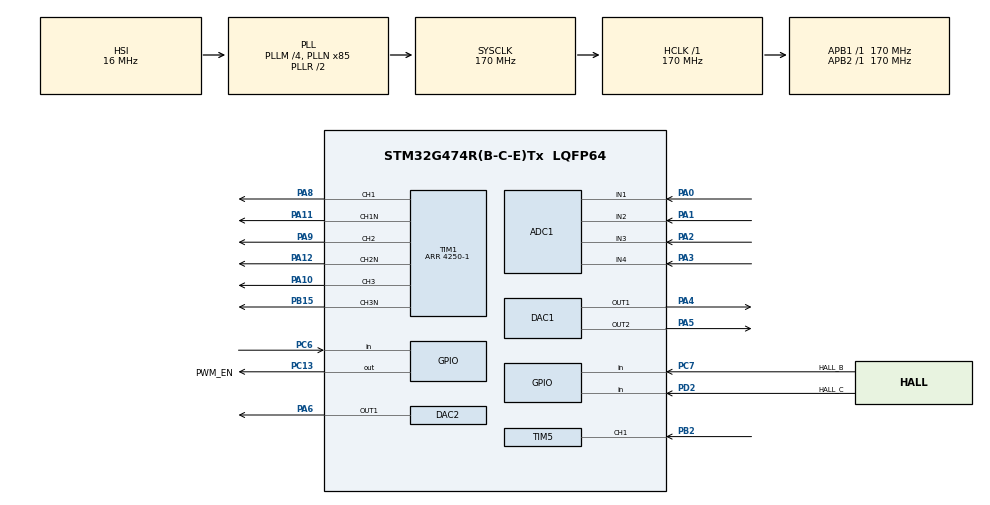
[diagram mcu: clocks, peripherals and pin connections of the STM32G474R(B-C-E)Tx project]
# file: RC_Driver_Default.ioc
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ADC1.Channel-0\#ChannelRegularConversion=ADC_CHANNEL_1
ADC1.Channel-1\#ChannelRegularConversion=ADC_CHANNEL_2
ADC1.Channel-2\#ChannelRegularConversion=ADC_CHANNEL_3
ADC1.Channel-3\#ChannelRegularConversion=ADC_CHANNEL_4
ADC1.DMAContinuousRequests=ENABLE
ADC1.ExternalTrigConv=ADC_EXTERNALTRIG_T1_TRGO
ADC1.ExternalTrigConvEdge=ADC_EXTERNALTRIGCONVEDGE_RISING
ADC1.NbrOfConversion=4
ADC1.NbrOfConversionFlag=1
ADC1.OffsetNumber-0\#ChannelRegularConversion=ADC_OFFSET_NONE
ADC1.OffsetNumber-1\#ChannelRegularConversion=ADC_OFFSET_NONE
ADC1.OffsetNumber-2\#ChannelRegularConversion=ADC_OFFSET_NONE
ADC1.OffsetNumber-3\#ChannelRegularConversion=ADC_OFFSET_NONE
ADC1.Overrun=ADC_OVR_DATA_PRESERVED
ADC1.Rank-0\#ChannelRegularConversion=1
ADC1.Rank-1\#ChannelRegularConversion=2
ADC1.Rank-2\#ChannelRegularConversion=3
ADC1.Rank-3\#ChannelRegularConversion=4
ADC1.SamplingTime-0\#ChannelRegularConversion=ADC_SAMPLETIME_92CYCLES_5
ADC1.SamplingTime-1\#ChannelRegularConversion=ADC_SAMPLETIME_92CYCLES_5
ADC1.SamplingTime-2\#ChannelRegularConversion=ADC_SAMPLETIME_92CYCLES_5
ADC1.SamplingTime-3\#ChannelRegularConversion=ADC_SAMPLETIME_92CYCLES_5
ADC1.master=1
DAC1.DAC_Channel-DAC_OUT2=DAC_CHANNEL_2
DAC1.DAC_SignedFormat-DAC_OUT1=ENABLE
DAC1.DAC_SignedFormat-DAC_OUT2=ENABLE
DAC2.DAC_SignedFormat-DAC_OUT1=ENABLE
Dma.ADC1.0.Direction=DMA_PERIPH_TO_MEMORY
Dma.ADC1.0.EventEnable=DISABLE
Dma.ADC1.0.Instance=DMA1_Channel1
Dma.ADC1.0.MemDataAlignment=DMA_MDATAALIGN_HALFWORD
Dma.ADC1.0.MemInc=DMA_MINC_ENABLE
Dma.ADC1.0.Mode=DMA_CIRCULAR
Dma.ADC1.0.PeriphDataAlignment=DMA_PDATAALIGN_HALFWORD
Dma.ADC1.0.PeriphInc=DMA_PINC_DISABLE
Dma.ADC1.0.Polarity=HAL_DMAMUX_REQ_GEN_RISING
Dma.ADC1.0.Priority=DMA_PRIORITY_LOW
Dma.ADC1.0.RequestNumber=1
Dma.ADC1.0.SignalID=NONE
Dma.ADC1.0.SyncEnable=DISABLE
Dma.ADC1.0.SyncPolarity=HAL_DMAMUX_SYNC_NO_EVENT
Dma.ADC1.0.SyncRequestNumber=1
Dma.ADC1.0.SyncSignalID=NONE
Dma.Request0=ADC1
LPTIM1.ClockPrescaler=LPTIM_PRESCALER_DIV16
LPTIM1.UpdateMode=LPTIM_UPDATE_ENDOFPERIOD
Mcu.Family=STM32G4
Mcu.Name=STM32G474R(B-C-E)Tx
Mcu.Package=LQFP64
Mcu.UserConstants=PPR,2000
NVIC.ADC1_2_IRQn=true\:0\:0\:false\:false\:true\:true\:true\:true
NVIC.DMA1_Channel1_IRQn=true\:0\:0\:false\:false\:true\:false\:true\:true
NVIC.LPTIM1_IRQn=true\:2\:0\:true\:false\:true\:true\:true\:true
NVIC.PriorityGroup=NVIC_PRIORITYGROUP_4
NVIC.TIM1_BRK_TIM15_IRQn=true\:1\:0\:true\:false\:true\:true\:true\:true
NVIC.TIM1_UP_TIM16_IRQn=true\:0\:0\:false\:false\:true\:true\:true\:true
NVIC.TIM5_IRQn=true\:1\:0\:true\:false\:true\:true\:true\:true
PA0.Mode=IN1-Single-Ended
PA0.Signal=ADC1_IN1
PA1.Mode=IN2-Single-Ended
PA1.Signal=ADC1_IN2
PA10.Signal=S_TIM1_CH3
PA11.Mode=PWM Generation1 CH1 CH1N
PA11.Signal=TIM1_CH1N
PA12.Mode=PWM Generation2 CH2 CH2N
PA12.Signal=TIM1_CH2N
PA13.Mode=Serial_Wire
PA13.Signal=SYS_JTMS-SWDIO
PA14.Mode=Serial_Wire
PA14.Signal=SYS_JTCK-SWCLK
PA2.Mode=IN3-Single-Ended
PA2.Signal=ADC1_IN3
PA3.Mode=IN4-Single-Ended
PA3.Signal=ADC1_IN4
PA4.Signal=COMP_DAC11_group
PA5.Signal=COMP_DAC12_group
PA6.Signal=COMP_DAC21_group
PA8.Signal=S_TIM1_CH1
PA9.Signal=S_TIM1_CH2
PB15.Mode=PWM Generation3 CH3 CH3N
PB15.Signal=TIM1_CH3N
PB2.GPIO_PuPd=GPIO_PULLDOWN
PB2.GPIO_Speed=GPIO_SPEED_FREQ_VERY_HIGH
PB2.Signal=S_TIM5_CH1
PC13.GPIO_Label=PWM_EN
PC13.GPIO_PuPd=GPIO_PULLDOWN
PC13.Signal=GPIO_Output
PC6.GPIO_PuPd=GPIO_PULLUP
PC6.Signal=GPIO_Input
PC7.GPIO_Label=HALL_B
PC7.GPIO_PuPd=GPIO_PULLUP
PC7.Signal=GPIO_Input
PD2.GPIO_Label=HALL_C
PD2.GPIO_PuPd=GPIO_PULLUP
PD2.Signal=GPIO_Input
ProjectManager.HeapSize=0x200
ProjectManager.StackSize=0x400
ProjectManager.TargetToolchain=STM32CubeIDE
RCC.ADC12Freq_Value=170000000
RCC.ADC345Freq_Value=170000000
RCC.AHBFreq_Value=170000000
RCC.APB1Freq_Value=170000000
RCC.APB1TimFreq_Value=170000000
RCC.APB2Freq_Value=170000000
RCC.APB2TimFreq_Value=170000000
RCC.CortexFreq_Value=170000000
RCC.EXTERNAL_CLOCK_VALUE=12288000
RCC.HCLKFreq_Value=170000000
RCC.HSE_VALUE=8000000
RCC.HSI48_VALUE=48000000
RCC.HSI_VALUE=16000000
RCC.LPTIM1CLockSelection=RCC_LPTIM1CLKSOURCE_LSI
RCC.LSE_VALUE=32768
RCC.PLLM=RCC_PLLM_DIV4
RCC.PLLN=85
RCC.SYSCLKFreq_VALUE=170000000
RCC.SYSCLKSource=RCC_SYSCLKSOURCE_PLLCLK
RCC.USBFreq_Value=170000000
RCC.VCOOutputFreq_Value=340000000
SH.COMP_DAC11_group.0=DAC1_OUT1,DAC_OUT1
SH.COMP_DAC12_group.0=DAC1_OUT2,DAC_OUT2
SH.COMP_DAC21_group.0=DAC2_OUT1,DAC_OUT1
SH.S_TIM1_CH1.0=TIM1_CH1,PWM Generation1 CH1 CH1N
SH.S_TIM1_CH2.0=TIM1_CH2,PWM Generation2 CH2 CH2N
SH.S_TIM1_CH3.0=TIM1_CH3,PWM Generation3 CH3 CH3N
SH.S_TIM5_CH1.0=TIM5_CH1,TriggerSource_TI1FP1
SH.S_TIM5_CH1.1=TIM5_CH1,Input_Capture1_from_TI1
TIM1.AsymmetricalDeadTime=ENABLE
TIM1.Break2Polarity=TIM_BREAK2POLARITY_LOW
TIM1.Break2State=TIM_BREAK2_DISABLE
TIM1.BreakPolarity=TIM_BREAKPOLARITY_HIGH
TIM1.BreakState=TIM_BREAK_ENABLE
TIM1.Channel-PWM\ Generation1\ CH1\ CH1N=TIM_CHANNEL_1
TIM1.Channel-PWM\ Generation2\ CH2\ CH2N=TIM_CHANNEL_2
TIM1.Channel-PWM\ Generation3\ CH3\ CH3N=TIM_CHANNEL_3
TIM1.CounterMode=TIM_COUNTERMODE_CENTERALIGNED1
TIM1.DeadTime=119
TIM1.DeadTimePreload=ENABLE
TIM1.FallingDeadTime=119
TIM1.OCMode_PWM-PWM\ Generation1\ CH1\ CH1N=TIM_OCMODE_PWM1
TIM1.OCMode_PWM-PWM\ Generation2\ CH2\ CH2N=TIM_OCMODE_PWM1
TIM1.OCMode_PWM-PWM\ Generation3\ CH3\ CH3N=TIM_OCMODE_PWM1
TIM1.OffStateIDLEMode=TIM_OSSI_DISABLE
TIM1.OffStateRunMode=TIM_OSSR_DISABLE
TIM1.PeriodNoDither=4250-1
TIM1.PulseNoDither_1=2125
TIM1.PulseNoDither_2=2125
TIM1.PulseNoDither_3=2125
TIM1.RepetitionCounter=0
TIM1.TIM_MasterOutputTrigger=TIM_TRGO_UPDATE
TIM1.TIM_MasterSlaveMode=TIM_MASTERSLAVEMODE_ENABLE
TIM5.Channel-Input_Capture1_from_TI1=TIM_CHANNEL_1
TIM5.Channel-Input_Capture2_from_TI1_63=TIM_CHANNEL_2
TIM5.ICPolarity_CH2=TIM_INPUTCHANNELPOLARITY_FALLING
TIM5.PeriodNoDither=65535
TIM5.Prescaler=169
TIM5.TIM_MasterOutputTrigger=TIM_TRGO_OC1REF
VP_CORDIC_VS_CORDIC.Mode=CORDIC_Activate
VP_LPTIM1_VS_LPTIM_counterModeInternalClock.Mode=Counts__internal_clock_event_00
VP_SYS_VS_DBSignals.Mode=DisableDeadBatterySignals
VP_TIM1_VS_ClockSourceINT.Mode=Internal
VP_TIM5_VS_ClockSourceINT.Mode=Internal
VP_TIM5_VS_ControllerModeReset.Mode=Reset Mode
VP_TIM5_VS_indirect_ch1.Mode=Input_Capture2_from_TI1_63
board=custom

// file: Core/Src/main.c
/* USER CODE BEGIN Header */
/**
 * @mainpage RC_Driver
 *
 * @section overview 프로젝트 개요
 * <b>RC_Driver</b>는 STM32G474RET6 마이크로컨트롤러 기반의
 * <b>PMSM(영구자석 동기 전동기) 인버터 드라이버</b>입니다.\n
 * RC카용 브러시리스 모터를 FOC(Field Oriented Control) 방식으로 구동하며,
 * Hall 센서 기반 위치/속도 추정과 센서리스 EEMF 옵저버를 지원합니다.
 *
 * @section hw 하드웨어 구성
 * | 항목 | 내용 |
 * |------|------|
 * | MCU | STM32G474RET6 (Cortex-M4, 170MHz, LQFP64) |
 * | 게이트 드라이버 | DRV8300DPWR – 3상 상하 암 6채널 구동 |
 * | 전력 스위치 | ISG0613N04NM6HATMA1 N-MOSFET × 6 |
 * | 전류 센서 | ACS725LLCTR-20AB-T (±20A, 66mV/A) × 3상 |
 * | 홀 센서 인터페이스 | 74LVC125AD 레벨 시프터 |
 *
 * @section sw 소프트웨어 구조
 * 제어 루프는 TIM1 인터럽트(20kHz, 50µs 주기)에서 실행됩니다.
 * | 파일 | 역할 |
 * |------|------|
 * | main.c | 시스템 초기화, 제어기 초기화 |
 * | MainControl.c | 메인 제어 루프 – ADC 샘플링 → 보호 → 모드 분기 |
 * | CurrentControl.c | FOC 핵심 알고리즘 – Clarke/Park 변환, PI 제어, SVPWM |
 * | Adc.c | ADC1 초기화 및 3상 전류(Ia, Ib, Ic) / DC링크 전압(Vdc) 측정 |
 * | SpeedObserver.c | Hall Sensor 각도 센싱 및 PLL 속도 추정기 |
 * | Fault.c | 하드웨어/소프트웨어 고장 감지 및 PWM 즉시 차단 |
 * | SpeedControl.c | PI 속도 제어 |
 * | GlobalVar.c | 모듈 간 공유 전역 변수 |
 * | stm32g4xx_it.c | TIM1(PWM 20kHz), TIM2(제어 20kHz), TIM15 초기화 |
 * | IntDac.c | STM32G474RET6 지원 DAC |
 */
/* USER CODE END Header */
#include "main.h"

/* USER CODE BEGIN Includes */
#include "GlobalVar.h"
#include "Adc.h"
#include "IntDac.h"

/* USER CODE END Includes */

ADC_HandleTypeDef hadc1;
DMA_HandleTypeDef hdma_adc1;

CORDIC_HandleTypeDef hcordic;

DAC_HandleTypeDef hdac1;
DAC_HandleTypeDef hdac2;

LPTIM_HandleTypeDef hlptim1;

TIM_HandleTypeDef htim1;
TIM_HandleTypeDef htim5;

void SystemClock_Config(void);
static void MX_GPIO_Init(void);
static void MX_DMA_Init(void);
static void MX_LPTIM1_Init(void);
static void MX_TIM1_Init(void);
static void MX_ADC1_Init(void);
static void MX_CORDIC_Init(void);
static void MX_DAC1_Init(void);
static void MX_DAC2_Init(void);
static void MX_TIM5_Init(void);

int main(void)
{

  /* MCU Configuration--------------------------------------------------------*/

  /* Reset of all peripherals, Initializes the Flash interface and the Systick. */
  HAL_Init();

  /* Configure the system clock */
  SystemClock_Config();

  /* USER CODE BEGIN SysInit */
	fSysClkFreq = HAL_RCC_GetSysClockFreq(); //* 시스템 클럭 주파수 저장
	fLptClkFreq = LSI_VALUE;                 //* LPTIM용 LSI 클럭 주파수 저장
  /* USER CODE END SysInit */

  /* Initialize all configured peripherals */
  MX_GPIO_Init();
  MX_DMA_Init();
  MX_LPTIM1_Init();
  MX_TIM1_Init();
  MX_ADC1_Init();
  MX_CORDIC_Init();
  MX_DAC1_Init();
  MX_DAC2_Init();
  MX_TIM5_Init();
  /* USER CODE BEGIN 2 */
	HAL_TIM_Base_Start_IT(&htim1);
	HAL_LPTIM_TimeOut_Start_IT(&hlptim1, 0x0000, 500);
	vEnableCycleCounter();
	vInitAdc();
	vInitIntDac();
	vInitController();

	// HAL_DAC_ConfigChannel(&hdac1, &sConfig, DAC_CHANNEL_1);
  /* USER CODE END 2 */

  /* Infinite loop */
	while (1)
	{

    /* USER CODE BEGIN 3 */
		/**
		 * @brief 외부 입력 PWM 신호 상태 모니터링
		 * @details 10ms 이상 신호 업데이트가 없으면 주파수를 0Hz로 강제 처리하고,
		 * 핀의 High/Low 상태에 따라 듀티 사이클을 100% 또는 0%로 설정합니다.
		 */
		if ((HAL_GetTick() - uLast_Capture_Time) > 10)
		{
			uFrequency = 0; // 주파수는 0Hz로 처리

			// TIM3_CH1 핀의 상태를 직접 읽어서 100%인지 0%인지 판단!
			// (주의: GPIOA, GPIO_PIN_6 부분은 실제 CubeMX에서 설정된 핀에 맞게 변경하세요)
			if (HAL_GPIO_ReadPin(GPIOB, GPIO_PIN_2) == GPIO_PIN_SET)
			{
				fDuty_Cycle = 100.0f; // 계속 High 상태면 100%
			}
			else
			{
				fDuty_Cycle = 0.0f;   // 계속 Low 상태면 0%
			}
		}

	}
  /* USER CODE END 3 */
}

void SystemClock_Config(void)
{
  RCC_OscInitTypeDef RCC_OscInitStruct = {0};
  RCC_ClkInitTypeDef RCC_ClkInitStruct = {0};

  /** Configure the main internal regulator output voltage
  */
  HAL_PWREx_ControlVoltageScaling(PWR_REGULATOR_VOLTAGE_SCALE1_BOOST);

  /** Initializes the RCC Oscillators according to the specified parameters
  * in the RCC_OscInitTypeDef structure.
  */
  RCC_OscInitStruct.OscillatorType = RCC_OSCILLATORTYPE_HSI|RCC_OSCILLATORTYPE_LSI;
  RCC_OscInitStruct.HSIState = RCC_HSI_ON;
  RCC_OscInitStruct.HSICalibrationValue = RCC_HSICALIBRATION_DEFAULT;
  RCC_OscInitStruct.LSIState = RCC_LSI_ON;
  RCC_OscInitStruct.PLL.PLLState = RCC_PLL_ON;
  RCC_OscInitStruct.PLL.PLLSource = RCC_PLLSOURCE_HSI;
  RCC_OscInitStruct.PLL.PLLM = RCC_PLLM_DIV4;
  RCC_OscInitStruct.PLL.PLLN = 85;
  RCC_OscInitStruct.PLL.PLLP = RCC_PLLP_DIV2;
  RCC_OscInitStruct.PLL.PLLQ = RCC_PLLQ_DIV2;
  RCC_OscInitStruct.PLL.PLLR = RCC_PLLR_DIV2;
  if (HAL_RCC_OscConfig(&RCC_OscInitStruct) != HAL_OK)
  {
    Error_Handler();
  }

  /** Initializes the CPU, AHB and APB buses clocks
  */
  RCC_ClkInitStruct.ClockType = RCC_CLOCKTYPE_HCLK|RCC_CLOCKTYPE_SYSCLK
                              |RCC_CLOCKTYPE_PCLK1|RCC_CLOCKTYPE_PCLK2;
  RCC_ClkInitStruct.SYSCLKSource = RCC_SYSCLKSOURCE_PLLCLK;
  RCC_ClkInitStruct.AHBCLKDivider = RCC_SYSCLK_DIV1;
  RCC_ClkInitStruct.APB1CLKDivider = RCC_HCLK_DIV1;
  RCC_ClkInitStruct.APB2CLKDivider = RCC_HCLK_DIV1;

  if (HAL_RCC_ClockConfig(&RCC_ClkInitStruct, FLASH_LATENCY_4) != HAL_OK)
  {
    Error_Handler();
  }
}

static void MX_ADC1_Init(void)
{

  ADC_MultiModeTypeDef multimode = {0};
  ADC_ChannelConfTypeDef sConfig = {0};

  /** Common config
  */
  hadc1.Instance = ADC1;
  hadc1.Init.ClockPrescaler = ADC_CLOCK_SYNC_PCLK_DIV4;
  hadc1.Init.Resolution = ADC_RESOLUTION_12B;
  hadc1.Init.DataAlign = ADC_DATAALIGN_RIGHT;
  hadc1.Init.GainCompensation = 0;
  hadc1.Init.ScanConvMode = ADC_SCAN_ENABLE;
  hadc1.Init.EOCSelection = ADC_EOC_SINGLE_CONV;
  hadc1.Init.LowPowerAutoWait = DISABLE;
  hadc1.Init.ContinuousConvMode = DISABLE;
  hadc1.Init.NbrOfConversion = 4;
  hadc1.Init.DiscontinuousConvMode = DISABLE;
  hadc1.Init.ExternalTrigConv = ADC_EXTERNALTRIG_T1_TRGO;
  hadc1.Init.ExternalTrigConvEdge = ADC_EXTERNALTRIGCONVEDGE_RISING;
  hadc1.Init.DMAContinuousRequests = ENABLE;
  hadc1.Init.Overrun = ADC_OVR_DATA_PRESERVED;
  hadc1.Init.OversamplingMode = DISABLE;
  if (HAL_ADC_Init(&hadc1) != HAL_OK)
  {
    Error_Handler();
  }

  /** Configure the ADC multi-mode
  */
  multimode.Mode = ADC_MODE_INDEPENDENT;
  if (HAL_ADCEx_MultiModeConfigChannel(&hadc1, &multimode) != HAL_OK)
  {
    Error_Handler();
  }

  /** Configure Regular Channel
  */
  sConfig.Channel = ADC_CHANNEL_1;
  sConfig.Rank = ADC_REGULAR_RANK_1;
  sConfig.SamplingTime = ADC_SAMPLETIME_92CYCLES_5;
  sConfig.SingleDiff = ADC_SINGLE_ENDED;
  sConfig.OffsetNumber = ADC_OFFSET_NONE;
  sConfig.Offset = 0;
  if (HAL_ADC_ConfigChannel(&hadc1, &sConfig) != HAL_OK)
  {
    Error_Handler();
  }

  /** Configure Regular Channel
  */
  sConfig.Channel = ADC_CHANNEL_2;
  sConfig.Rank = ADC_REGULAR_RANK_2;
  if (HAL_ADC_ConfigChannel(&hadc1, &sConfig) != HAL_OK)
  {
    Error_Handler();
  }

  /** Configure Regular Channel
  */
  sConfig.Channel = ADC_CHANNEL_3;
  sConfig.Rank = ADC_REGULAR_RANK_3;
  if (HAL_ADC_ConfigChannel(&hadc1, &sConfig) != HAL_OK)
  {
    Error_Handler();
  }

  /** Configure Regular Channel
  */
  sConfig.Channel = ADC_CHANNEL_4;
  sConfig.Rank = ADC_REGULAR_RANK_4;
  if (HAL_ADC_ConfigChannel(&hadc1, &sConfig) != HAL_OK)
  {
    Error_Handler();
  }

}

static void MX_CORDIC_Init(void)
{

  hcordic.Instance = CORDIC;
  if (HAL_CORDIC_Init(&hcordic) != HAL_OK)
  {
    Error_Handler();
  }
  /* USER CODE BEGIN CORDIC_Init 2 */

	CORDIC_ConfigTypeDef sCordicConfig = {0};

	// 1. 기능: Cosine 모드 (Cos와 Sin을 동시에 계산해줌)
	sCordicConfig.Function = CORDIC_FUNCTION_COSINE;

	// 2. 정밀도: 6 Cycles (속도와 정확도의 균형, 모터 제어 추천값)
	// 숫자가 낮을수록(4) 빠르고, 높을수록(6~7) 정밀합니다.
	sCordicConfig.Precision = CORDIC_PRECISION_6CYCLES;

	// 3. 스케일: 0 (기본값)
	sCordicConfig.Scale = CORDIC_SCALE_0;

	// 4. 입출력 설정
	sCordicConfig.NbWrite = CORDIC_NBWRITE_1;    // 입력값 1개 (각도)
	sCordicConfig.NbRead = CORDIC_NBREAD_2;      // 출력값 2개 (Cos, Sin)
	sCordicConfig.InSize = CORDIC_INSIZE_32BITS; // 32비트 입력
	sCordicConfig.OutSize = CORDIC_OUTSIZE_32BITS; // 32비트 출력

	// 5. 설정 적용 명령
	if (HAL_CORDIC_Configure(&hcordic, &sCordicConfig) != HAL_OK)
	{
		Error_Handler();
	}

  /* USER CODE END CORDIC_Init 2 */

}

static void MX_DAC1_Init(void)
{

  DAC_ChannelConfTypeDef sConfig = {0};

  /** DAC Initialization
  */
  hdac1.Instance = DAC1;
  if (HAL_DAC_Init(&hdac1) != HAL_OK)
  {
    Error_Handler();
  }

  /** DAC channel OUT1 config
  */
  sConfig.DAC_HighFrequency = DAC_HIGH_FREQUENCY_INTERFACE_MODE_AUTOMATIC;
  sConfig.DAC_DMADoubleDataMode = DISABLE;
  sConfig.DAC_SignedFormat = ENABLE;
  sConfig.DAC_SampleAndHold = DAC_SAMPLEANDHOLD_DISABLE;
  sConfig.DAC_Trigger = DAC_TRIGGER_NONE;
  sConfig.DAC_Trigger2 = DAC_TRIGGER_NONE;
  sConfig.DAC_OutputBuffer = DAC_OUTPUTBUFFER_ENABLE;
  sConfig.DAC_ConnectOnChipPeripheral = DAC_CHIPCONNECT_EXTERNAL;
  sConfig.DAC_UserTrimming = DAC_TRIMMING_FACTORY;
  if (HAL_DAC_ConfigChannel(&hdac1, &sConfig, DAC_CHANNEL_1) != HAL_OK)
  {
    Error_Handler();
  }

  /** DAC channel OUT2 config
  */
  if (HAL_DAC_ConfigChannel(&hdac1, &sConfig, DAC_CHANNEL_2) != HAL_OK)
  {
    Error_Handler();
  }

}

static void MX_DAC2_Init(void)
{

  DAC_ChannelConfTypeDef sConfig = {0};

  /** DAC Initialization
  */
  hdac2.Instance = DAC2;
  if (HAL_DAC_Init(&hdac2) != HAL_OK)
  {
    Error_Handler();
  }

  /** DAC channel OUT1 config
  */
  sConfig.DAC_HighFrequency = DAC_HIGH_FREQUENCY_INTERFACE_MODE_AUTOMATIC;
  sConfig.DAC_DMADoubleDataMode = DISABLE;
  sConfig.DAC_SignedFormat = ENABLE;
  sConfig.DAC_SampleAndHold = DAC_SAMPLEANDHOLD_DISABLE;
  sConfig.DAC_Trigger = DAC_TRIGGER_NONE;
  sConfig.DAC_Trigger2 = DAC_TRIGGER_NONE;
  sConfig.DAC_OutputBuffer = DAC_OUTPUTBUFFER_ENABLE;
  sConfig.DAC_ConnectOnChipPeripheral = DAC_CHIPCONNECT_EXTERNAL;
  sConfig.DAC_UserTrimming = DAC_TRIMMING_FACTORY;
  if (HAL_DAC_ConfigChannel(&hdac2, &sConfig, DAC_CHANNEL_1) != HAL_OK)
  {
    Error_Handler();
  }

}

static void MX_LPTIM1_Init(void)
{

  hlptim1.Instance = LPTIM1;
  hlptim1.Init.Clock.Source = LPTIM_CLOCKSOURCE_APBCLOCK_LPOSC;
  hlptim1.Init.Clock.Prescaler = LPTIM_PRESCALER_DIV16;
  hlptim1.Init.Trigger.Source = LPTIM_TRIGSOURCE_SOFTWARE;
  hlptim1.Init.OutputPolarity = LPTIM_OUTPUTPOLARITY_HIGH;
  hlptim1.Init.UpdateMode = LPTIM_UPDATE_ENDOFPERIOD;
  hlptim1.Init.CounterSource = LPTIM_COUNTERSOURCE_INTERNAL;
  hlptim1.Init.Input1Source = LPTIM_INPUT1SOURCE_GPIO;
  hlptim1.Init.Input2Source = LPTIM_INPUT2SOURCE_GPIO;
  if (HAL_LPTIM_Init(&hlptim1) != HAL_OK)
  {
    Error_Handler();
  }
  /* USER CODE BEGIN LPTIM1_Init 2 */
  	//  fLptimIntFreq = fLptimKerClkFreq / (fLptimPrescaler * (pLptimCfg.AutoReload + 1ul));
  	//  fTSc = 1. / fLptimIntFreq;
  	fLptimIntFreq = (float)LSI_VALUE / (float)((1UL << ((LPTIM1->CFGR & LPTIM_CFGR_PRESC) >> LPTIM_CFGR_PRESC_Pos)) * (LPTIM1->ARR + 1));
  	fTSc = 1./fLptimIntFreq;
  /* USER CODE END LPTIM1_Init 2 */

}

static void MX_TIM1_Init(void)
{

  TIM_ClockConfigTypeDef sClockSourceConfig = {0};
  TIM_MasterConfigTypeDef sMasterConfig = {0};
  TIM_OC_InitTypeDef sConfigOC = {0};
  TIM_BreakDeadTimeConfigTypeDef sBreakDeadTimeConfig = {0};

  htim1.Instance = TIM1;
  htim1.Init.Prescaler = 0;
  htim1.Init.CounterMode = TIM_COUNTERMODE_CENTERALIGNED1;
  htim1.Init.Period = 4249;
  htim1.Init.ClockDivision = TIM_CLOCKDIVISION_DIV1;
  htim1.Init.RepetitionCounter = 0;
  htim1.Init.AutoReloadPreload = TIM_AUTORELOAD_PRELOAD_DISABLE;
  if (HAL_TIM_Base_Init(&htim1) != HAL_OK)
  {
    Error_Handler();
  }
  sClockSourceConfig.ClockSource = TIM_CLOCKSOURCE_INTERNAL;
  if (HAL_TIM_ConfigClockSource(&htim1, &sClockSourceConfig) != HAL_OK)
  {
    Error_Handler();
  }
  if (HAL_TIM_PWM_Init(&htim1) != HAL_OK)
  {
    Error_Handler();
  }
  sMasterConfig.MasterOutputTrigger = TIM_TRGO_UPDATE;
  sMasterConfig.MasterOutputTrigger2 = TIM_TRGO2_RESET;
  sMasterConfig.MasterSlaveMode = TIM_MASTERSLAVEMODE_ENABLE;
  if (HAL_TIMEx_MasterConfigSynchronization(&htim1, &sMasterConfig) != HAL_OK)
  {
    Error_Handler();
  }
  sConfigOC.OCMode = TIM_OCMODE_PWM1;
  sConfigOC.Pulse = 2125;
  sConfigOC.OCPolarity = TIM_OCPOLARITY_HIGH;
  sConfigOC.OCNPolarity = TIM_OCNPOLARITY_HIGH;
  sConfigOC.OCFastMode = TIM_OCFAST_DISABLE;
  sConfigOC.OCIdleState = TIM_OCIDLESTATE_RESET;
  sConfigOC.OCNIdleState = TIM_OCNIDLESTATE_RESET;
  if (HAL_TIM_PWM_ConfigChannel(&htim1, &sConfigOC, TIM_CHANNEL_1) != HAL_OK)
  {
    Error_Handler();
  }
  if (HAL_TIM_PWM_ConfigChannel(&htim1, &sConfigOC, TIM_CHANNEL_2) != HAL_OK)
  {
    Error_Handler();
  }
  if (HAL_TIM_PWM_ConfigChannel(&htim1, &sConfigOC, TIM_CHANNEL_3) != HAL_OK)
  {
    Error_Handler();
  }
  HAL_TIMEx_EnableDeadTimePreload(&htim1);
  HAL_TIMEx_ConfigAsymmetricalDeadTime(&htim1, 119);
  HAL_TIMEx_EnableAsymmetricalDeadTime(&htim1);
  sBreakDeadTimeConfig.OffStateRunMode = TIM_OSSR_DISABLE;
  sBreakDeadTimeConfig.OffStateIDLEMode = TIM_OSSI_DISABLE;
  sBreakDeadTimeConfig.LockLevel = TIM_LOCKLEVEL_OFF;
  sBreakDeadTimeConfig.DeadTime = 119;
  sBreakDeadTimeConfig.BreakState = TIM_BREAK_ENABLE;
  sBreakDeadTimeConfig.BreakPolarity = TIM_BREAKPOLARITY_HIGH;
  sBreakDeadTimeConfig.BreakFilter = 0;
  sBreakDeadTimeConfig.BreakAFMode = TIM_BREAK_AFMODE_INPUT;
  sBreakDeadTimeConfig.Break2State = TIM_BREAK2_DISABLE;
  sBreakDeadTimeConfig.Break2Polarity = TIM_BREAK2POLARITY_LOW;
  sBreakDeadTimeConfig.Break2Filter = 0;
  sBreakDeadTimeConfig.Break2AFMode = TIM_BREAK_AFMODE_INPUT;
  sBreakDeadTimeConfig.AutomaticOutput = TIM_AUTOMATICOUTPUT_DISABLE;
  if (HAL_TIMEx_ConfigBreakDeadTime(&htim1, &sBreakDeadTimeConfig) != HAL_OK)
  {
    Error_Handler();
  }
  /* USER CODE BEGIN TIM1_Init 2 */
  	fTimIntFreq = (float)fSysClkFreq / (float)((TIM1->PSC + 1) * 2 * TIM1->ARR * (TIM1->RCR + 1));
  	fTsamp = 1.0f / fTimIntFreq;
  /* USER CODE END TIM1_Init 2 */
  HAL_TIM_MspPostInit(&htim1);

}

static void MX_TIM5_Init(void)
{

  TIM_ClockConfigTypeDef sClockSourceConfig = {0};
  TIM_SlaveConfigTypeDef sSlaveConfig = {0};
  TIM_MasterConfigTypeDef sMasterConfig = {0};
  TIM_IC_InitTypeDef sConfigIC = {0};

  htim5.Instance = TIM5;
  htim5.Init.Prescaler = 169;
  htim5.Init.CounterMode = TIM_COUNTERMODE_UP;
  htim5.Init.Period = 65535;
  htim5.Init.ClockDivision = TIM_CLOCKDIVISION_DIV1;
  htim5.Init.AutoReloadPreload = TIM_AUTORELOAD_PRELOAD_DISABLE;
  if (HAL_TIM_Base_Init(&htim5) != HAL_OK)
  {
    Error_Handler();
  }
  sClockSourceConfig.ClockSource = TIM_CLOCKSOURCE_INTERNAL;
  if (HAL_TIM_ConfigClockSource(&htim5, &sClockSourceConfig) != HAL_OK)
  {
    Error_Handler();
  }
  if (HAL_TIM_IC_Init(&htim5) != HAL_OK)
  {
    Error_Handler();
  }
  sSlaveConfig.SlaveMode = TIM_SLAVEMODE_RESET;
  sSlaveConfig.InputTrigger = TIM_TS_TI1FP1;
  sSlaveConfig.TriggerPolarity = TIM_INPUTCHANNELPOLARITY_RISING;
  sSlaveConfig.TriggerFilter = 0;
  if (HAL_TIM_SlaveConfigSynchro(&htim5, &sSlaveConfig) != HAL_OK)
  {
    Error_Handler();
  }
  sMasterConfig.MasterOutputTrigger = TIM_TRGO_OC1REF;
  sMasterConfig.MasterSlaveMode = TIM_MASTERSLAVEMODE_DISABLE;
  if (HAL_TIMEx_MasterConfigSynchronization(&htim5, &sMasterConfig) != HAL_OK)
  {
    Error_Handler();
  }
  sConfigIC.ICPolarity = TIM_INPUTCHANNELPOLARITY_RISING;
  sConfigIC.ICSelection = TIM_ICSELECTION_DIRECTTI;
  sConfigIC.ICPrescaler = TIM_ICPSC_DIV1;
  sConfigIC.ICFilter = 0;
  if (HAL_TIM_IC_ConfigChannel(&htim5, &sConfigIC, TIM_CHANNEL_1) != HAL_OK)
  {
    Error_Handler();
  }
  sConfigIC.ICPolarity = TIM_INPUTCHANNELPOLARITY_FALLING;
  sConfigIC.ICSelection = TIM_ICSELECTION_INDIRECTTI;
  if (HAL_TIM_IC_ConfigChannel(&htim5, &sConfigIC, TIM_CHANNEL_2) != HAL_OK)
  {
    Error_Handler();
  }
  /* USER CODE BEGIN TIM5_Init 2 */
    HAL_TIM_IC_Start_IT(&htim5, TIM_CHANNEL_1);
    HAL_TIM_IC_Start_IT(&htim5, TIM_CHANNEL_2);
  /* USER CODE END TIM5_Init 2 */

}

static void MX_DMA_Init(void)
{

  /* DMA controller clock enable */
  __HAL_RCC_DMAMUX1_CLK_ENABLE();
  __HAL_RCC_DMA1_CLK_ENABLE();

  /* DMA interrupt init */
  /* DMA1_Channel1_IRQn interrupt configuration */
  HAL_NVIC_SetPriority(DMA1_Channel1_IRQn, 0, 0);
  HAL_NVIC_EnableIRQ(DMA1_Channel1_IRQn);

}

static void MX_GPIO_Init(void)
{
  GPIO_InitTypeDef GPIO_InitStruct = {0};

  /* GPIO Ports Clock Enable */
  __HAL_RCC_GPIOC_CLK_ENABLE();
  __HAL_RCC_GPIOA_CLK_ENABLE();
  __HAL_RCC_GPIOB_CLK_ENABLE();
  __HAL_RCC_GPIOD_CLK_ENABLE();

  /*Configure GPIO pin Output Level */
  HAL_GPIO_WritePin(PWM_EN_GPIO_Port, PWM_EN_Pin, GPIO_PIN_RESET);

  /*Configure GPIO pin : PWM_EN_Pin */
  GPIO_InitStruct.Pin = PWM_EN_Pin;
  GPIO_InitStruct.Mode = GPIO_MODE_OUTPUT_PP;
  GPIO_InitStruct.Pull = GPIO_PULLDOWN;
  GPIO_InitStruct.Speed = GPIO_SPEED_FREQ_LOW;
  HAL_GPIO_Init(PWM_EN_GPIO_Port, &GPIO_InitStruct);

  /*Configure GPIO pins : PC6 HALL_B_Pin */
  GPIO_InitStruct.Pin = GPIO_PIN_6|HALL_B_Pin;
  GPIO_InitStruct.Mode = GPIO_MODE_INPUT;
  GPIO_InitStruct.Pull = GPIO_PULLUP;
  HAL_GPIO_Init(GPIOC, &GPIO_InitStruct);

  /*Configure GPIO pin : HALL_C_Pin */
  GPIO_InitStruct.Pin = HALL_C_Pin;
  GPIO_InitStruct.Mode = GPIO_MODE_INPUT;
  GPIO_InitStruct.Pull = GPIO_PULLUP;
  HAL_GPIO_Init(HALL_C_GPIO_Port, &GPIO_InitStruct);

}

/* USER CODE BEGIN 4 */
  /**
    * @brief  ADC 변환 완료 인터럽트 콜백 함수
    * @details DMA에 의해 설정된 채널들의 ADC 데이터 수신이 완료되면 자동으로 호출되며,
    * 내부 전류 제어를 위한 스케일링 등의 액션을 수행합니다.
    * @param  hadc ADC 핸들러 포인터
    * @retval None
    */
  void HAL_ADC_ConvCpltCallback(ADC_HandleTypeDef *hadc) {	// ADC 변환 완료  인터럽트가 발생하면 이 함수를 호출
  	vAdcAction();
  }

/* USER CODE END 4 */

void Error_Handler(void)
{
  	__disable_irq();
  	while (1)
  	{
  	}
}
